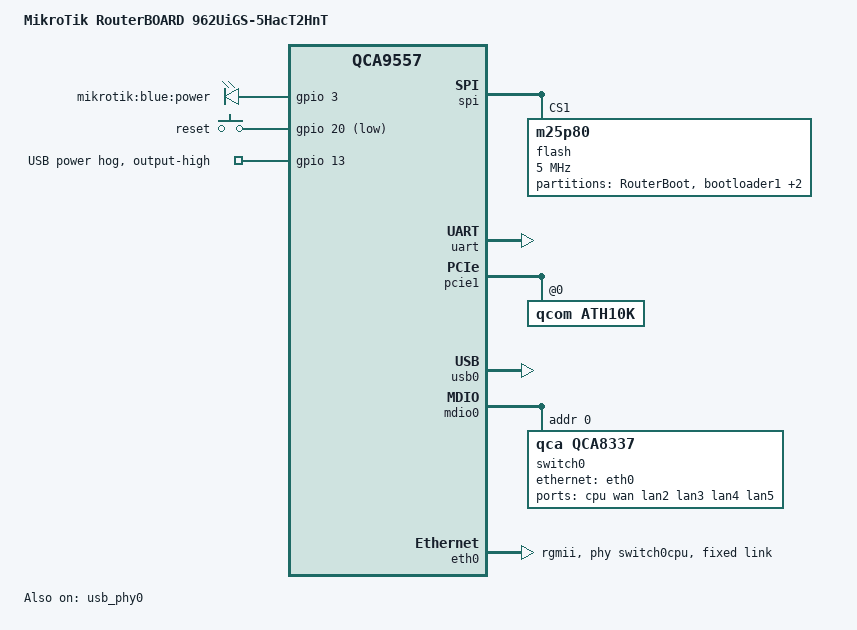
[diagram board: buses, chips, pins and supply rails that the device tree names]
// SPDX-License-Identifier: GPL-2.0-or-later OR MIT
/dts-v1/;

#include <dt-bindings/gpio/gpio.h>
#include <dt-bindings/input/input.h>

#include "qca955x.dtsi"

/ {
	compatible = "mikrotik,routerboard-omnitikg-5hacd", "qca,qca9557";
	model = "MikroTik RouterBOARD 962UiGS-5HacT2HnT";

	aliases {
		led-boot = &led_pwr;
		led-failsafe = &led_pwr;
		led-upgrade = &led_pwr;
	};

	leds {
		compatible = "gpio-leds";

		led_pwr: pwr {
			label = "mikrotik:blue:power";
			gpios = <&gpio 3 GPIO_ACTIVE_HIGH>;
			default-state = "on";
		};
	};

	keys {
		compatible = "gpio-keys";

		reset {
			label = "reset";
			linux,code = <KEY_RESTART>;
			gpios = <&gpio 20 GPIO_ACTIVE_LOW>;
			debounce-interval = <60>;
		};
	};
};

/*
&pinmux {
	pinmux_uart_in_pins {
		pinctrl-single,bits = <0x18 (9 << 8) (9 << 8)>;
		//0x18040044 UART_SIN(<<8) GPIO9
	};

	pinmux_uart_out_pins {
		pinctrl-single,bits = <0x8 (22 << (8*2)) (22 << (8*2))>;
		//0x18040034 GPIO10(<<16) UART0_SOUT(22)
	};

	pinmux_spi_cs2_pins {
		pinctrl-single,bits = <0x8 (11 << (8*3)) (11 << (8*3))>;
		//0x18040034 GPIO11(<<24) SPI_CS_2(11)
	};
};
*/

&gpio {

	//NEED TO CHECK
	gpio-line-names =
		"", "", "", "power",
		"", "SPI_CS_0", "SPI_CLK", "SPI_MOSI",
		"SPI_DATA_IN", "UART_SIN", "UART0_SOUT", "SPI_CS_2",
		"", "USB power", "", "",
		"", "", "", "",
		"reset", "", "", ""; //reset ACTIVE_LOW

	usb-power {
		gpio-hog;
		gpios = <13 GPIO_ACTIVE_HIGH>;
		output-high;
		line-name = "USB power";
	};
};

&spi {
	status = "okay";

	compatible = "mikrotik,rb4xx-spi";

	flash@1 {
		compatible = "m25p80", "jedec,spi-nor";
		reg = <1>;
		//spi-max-frequency = <80000000>; //vendor
		spi-max-frequency = <5000000>;

		partitions {
			compatible = "fixed-partitions";
			#address-cells = <1>;
			#size-cells = <1>;

			partition@0 {
				label = "RouterBoot";
				reg = <0x0 0x20000>;
				compatible = "mikrotik,routerboot-partitions";
				#address-cells = <1>;
				#size-cells = <1>;

				partition@0 {
					label = "bootloader1";
					reg = <0x0 0x0>;
					read-only;
				};

				hard_config {
					label = "hard_config";
					read-only;
				};

				bios {
					size = <0x1000>;
					read-only;
				};

				partition@10000 {
					label = "bootloader2";
					reg = <0x10000 0x0>;
					read-only;
				};

				soft_config {
					label = "soft_config";
				};
			};

			partition@20000 {
				label = "firmware";
				reg = <0x20000 0xfe0000>;
				compatible = "mikrotik,minor";
			};

		};
	};
};

&uart {
	status = "okay";
};

&pcie1 {
	status = "okay";

	ath10k: wifi@0,0 {
		compatible = "qcom,ath10k";
		reg = <0 0 0 0 0>;
		gpio-controller;
		#gpio-cells = <2>;
	};
};

&usb0 {
	status = "okay";
};

&usb_phy0 {
	status = "okay";
};

&mdio0 {
	status = "okay";

	switch0@0 {
		compatible = "qca,qca8337";
		#address-cells = <1>;
		#size-cells = <0>;
		reg = <0x0>;

		ports {
			#address-cells = <1>;
			#size-cells = <0>;

			switch0cpu: port@0 {
				reg = <0>;
				label = "cpu";
				ethernet = <&eth0>;
				phy-mode = "rgmii";
				fixed-link {
					speed = <1000>;
					full-duplex;
				};
			};

			port@1 {
				reg = <1>;
				label = "wan";
			};

			port@2 {
				reg = <2>;
				label = "lan2";
			};

			port@3 {
				reg = <3>;
				label = "lan3";
			};

			port@4 {
				reg = <4>;
				label = "lan4";
			};

			port@5 {
				reg = <5>;
				label = "lan5";
			};
		};
	};
};

/*
&mdio0 {
	status = "okay";

	phy0: ethernet-phy@0 {
		reg = <0>;
		phy-mode = "rgmii";

		qca,ar8327-initvals = <
			0x04 (1<<26 | 1<<25 | 1<<22)
			// PORT0_PAD_CTRL
			// RGMII, TXCLK_DELAY_EN, TX_DELAY(1)
			0x08 (1<<24)
			// PORT5_PAD_CTRL
			// RXCLK_DELAY_EN (all ports)
			>;
	};
};
*/

&eth0 {
	status = "okay";

	phy-mode = "rgmii";
	phy-handle = <&switch0cpu>;
	/* vendor firmware has TX_DELAY 01  */
	pll-data = <0x8f000000 0x00000101 0x00001616>;
	/* pl1data gigabit from vendor firmware
         * 100Mbps & 10Mbps match qca955x.dtsi */

	fixed-link {
		speed = <1000>;
		full-duplex;
	};
};
